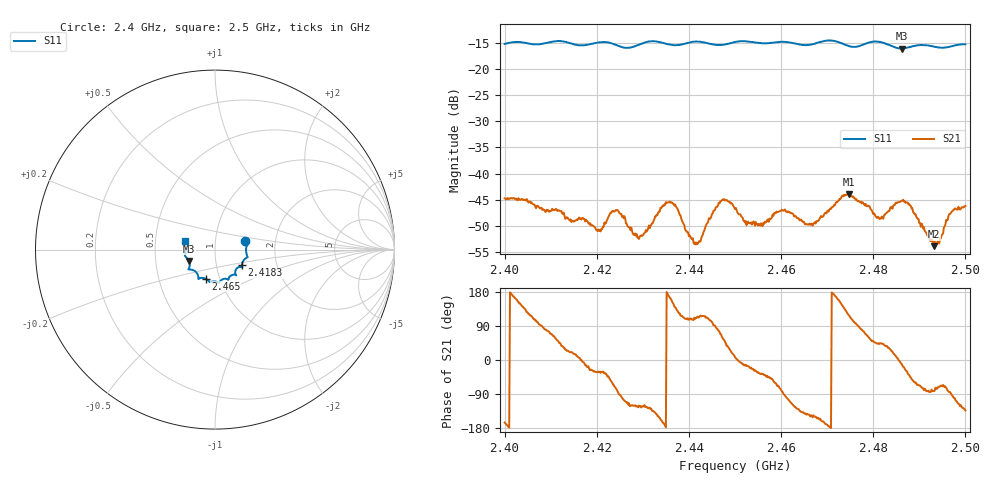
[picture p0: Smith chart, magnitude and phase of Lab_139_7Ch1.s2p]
# Hz S RI R 50
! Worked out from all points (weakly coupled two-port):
!   601 points, 2.4 GHz to 2.5 GHz, reference 50 ohm
!   highest |S21| = -43.97 dB at 2.4747 GHz (marker M1); lowest = -53.9 dB at 2.4932 GHz (marker M2)
!   lowest |S11| = -16.0 dB at 2.4862 GHz (marker M3), VSWR 1.37, Z = 37.1 - j4.8 ohm
!   |S11| at or under -10 dB: start of sweep to end of sweep
!   S12 and S22 are empty: the file has one direction only
!   S11 on the Smith chart (normalised r, x): 2.4 GHz: 1.40, +0.13; 2.4183 GHz: 1.33, -0.24; 2.465 GHz: 0.86, -0.29; 2.5 GHz: 0.71, +0.07
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2.4e9  0.1689 0.0456  -0.00558 -0.00148  0 0  0 0
2.416667e9  0.1547 -0.0682  0.00362 1.51e-05  0 0  0 0
2.418333e9  0.1499 -0.0867  0.00304 -0.00125  0 0  0 0
2.420667e9  0.1514 -0.1  0.00249 -0.00147  0 0  0 0
2.424333e9  0.1399 -0.0961  0.00089 -0.00434  0 0  0 0
2.429333e9  0.1125 -0.1321  -0.00134 -0.0021  0 0  0 0
2.433333e9  0.1168 -0.1412  -0.00358 -0.00222  0 0  0 0
2.436667e9  0.0929 -0.1426  -0.00432 0.00277  0 0  0 0
2.4415e9  0.0742 -0.1687  -0.000737 0.00195  0 0  0 0
2.447e9  0.0436 -0.1651  0.00211 0.00503  0 0  0 0
2.45e9  0.0249 -0.1807  0.00453 0.000571  0 0  0 0
2.452667e9  0.0192 -0.1839  0.00323 -0.00091  0 0  0 0
2.460333e9  -0.0286 -0.181  0.000431 -0.00442  0 0  0 0
2.465e9  -0.0528 -0.1621  -0.00264 -0.00215  0 0  0 0
2.466667e9  -0.0713 -0.1576  -0.00279 -0.00179  0 0  0 0
2.474667e9  -0.0992 -0.134  -0.00304 0.00555  0 0  0 0
2.481167e9  -0.1478 -0.1088  0.00271 0.00265  0 0  0 0
2.483333e9  -0.142 -0.0959  0.00367 0.00234  0 0  0 0
2.486167e9  -0.1447 -0.0631  0.00538 -0.001  0 0  0 0
2.493167e9  -0.1639 -0.0176  0.000273 -0.00199  0 0  0 0
2.496833e9  -0.1631 0.0258  0.000154 -0.00417  0 0  0 0
2.5e9  -0.1669 0.0473  -0.00335 -0.00356  0 0  0 0
